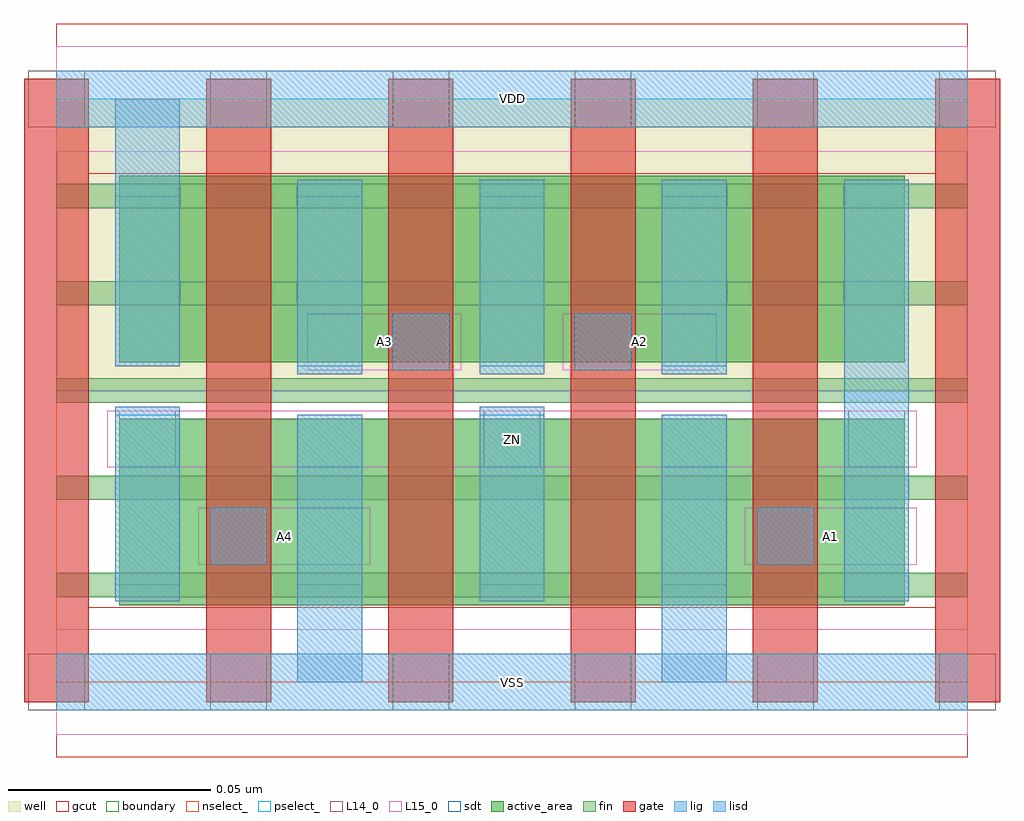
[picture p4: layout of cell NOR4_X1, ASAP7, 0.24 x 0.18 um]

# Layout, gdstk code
import gdstk
lib = gdstk.Library(unit=1e-6, precision=2.5e-10)
def R(c, l, rs):  # rectangles x0, y0, x1, y1
    for r in rs: c.add(gdstk.rectangle(r[:2], r[2:], *l))
def A(c, l, x, y, w, h, nx, ny, dx, dy):  # array of equal rectangles
    R(c, l, [(x+i*dx, y+j*dy, x+i*dx+w, y+j*dy+h) for i in range(nx) for j in range(ny)])
well = (1, 0)
fin = (2, 0)
gate = (7, 0)
gcut = (10, 0)
active_area = (11, 0)
nselect_ = (12, 0)
pselect_ = (13, 0)
L14_0 = (14, 0)
L15_0 = (15, 0)
lig = (16, 0)
lisd = (17, 0)
sdt = (88, 0)
boundary = (100, 0)

nor4_x1 = lib.new_cell('NOR4_X1')
R(nor4_x1, well, [(0,0.072,0.225,0.144)])
A(nor4_x1, fin, 0, 0.021, 0.225, 0.006, 1, 5, 0, 0.024)
A(nor4_x1, gate, -0.008, -0.005, 0.016, 0.154, 6, 1, 0.045, 0)
R(nor4_x1, gcut, [(0,-0.0185,0.225,0.0185), (-0.008,-0.005,0.008,0.149), (0.217,-0.005,0.233,0.149), (0,0.1255,0.225,0.1625)])
A(nor4_x1, active_area, 0.0155, 0.019, 0.059, 0.046, 4, 2, 0.045, 0.06)
R(nor4_x1, nselect_, [(0,0,0.225,0.072)])
R(nor4_x1, pselect_, [(0,0.072,0.225,0.144)])
A(nor4_x1, L14_0, -0.007, -0.007, 0.014, 0.014, 6, 2, 0.045, 0.144)
A(nor4_x1, L14_0, 0.0155, 0.053, 0.014, 0.014, 3, 1, 0.09, 0)
R(nor4_x1, L14_0, [(0.038,0.029,0.052,0.043), (0.173,0.029,0.187,0.043), (0.083,0.077,0.097,0.091), (0.128,0.077,0.142,0.091)])
R(nor4_x1, L15_0, [(0,-0.013,0.225,0.013), (0.035,0.029,0.0775,0.043), (0.17,0.029,0.2125,0.043), (0.0125,0.053,0.2125,0.067), (0.062,0.077,0.1,0.091), (0.125,0.077,0.163,0.091), (0,0.131,0.225,0.157)])
R(nor4_x1, lig, [(0,-0.007,0.225,0.007), (0.038,0.029,0.052,0.043), (0.173,0.029,0.187,0.043), (0.083,0.077,0.097,0.091), (0.128,0.077,0.142,0.091), (0,0.137,0.225,0.151)])
R(nor4_x1, lisd, [(0.0595,0,0.0755,0.066), (0.0595,0,0.0755,0.066), (0.1495,0,0.1655,0.066), (0.1495,0,0.1655,0.066), (0.0145,0.02,0.0305,0.068), (0.1045,0.02,0.1205,0.068), (0.1045,0.02,0.1205,0.068), (0.1945,0.02,0.2105,0.124), (0.0595,0.076,0.0755,0.124), (0.0595,0.076,0.0755,0.124), (0.1045,0.076,0.1205,0.124), (0.1045,0.076,0.1205,0.124), (0.1495,0.076,0.1655,0.124), (0.1495,0.076,0.1655,0.124), (0.0145,0.078,0.0305,0.144)])
R(nor4_x1, sdt, [(0.1945,0.02,0.2105,0.124), (0.0145,0.024,0.0305,0.066), (0.0595,0.024,0.0755,0.066), (0.0595,0.024,0.0755,0.066), (0.1045,0.024,0.1205,0.066), (0.1045,0.024,0.1205,0.066), (0.1495,0.024,0.1655,0.066), (0.1495,0.024,0.1655,0.066), (0.0145,0.078,0.0305,0.12), (0.0595,0.078,0.0755,0.12), (0.0595,0.078,0.0755,0.12), (0.1045,0.078,0.1205,0.12), (0.1045,0.078,0.1205,0.12), (0.1495,0.078,0.1655,0.12), (0.1495,0.078,0.1655,0.12)])
R(nor4_x1, boundary, [(0,0,0.225,0.144)])
nor4_x1.add(gdstk.Label('VDD', (0.1125,0.144), layer=1, texttype=251))
nor4_x1.add(gdstk.Label('VSS', (0.1125,0), layer=3, texttype=251))
nor4_x1.add(gdstk.Label('A4', (0.0563,0.036), layer=15, texttype=251))
nor4_x1.add(gdstk.Label('A3', (0.081,0.084), layer=15, texttype=251))
nor4_x1.add(gdstk.Label('ZN', (0.1125,0.06), layer=15, texttype=251))
nor4_x1.add(gdstk.Label('A2', (0.144,0.084), layer=15, texttype=251))
nor4_x1.add(gdstk.Label('A1', (0.1913,0.036), layer=15, texttype=251))
nor4_x1.add(gdstk.Label('VSS', (0.1125,0), layer=15, texttype=251))
nor4_x1.add(gdstk.Label('VDD', (0.1125,0.144), layer=15, texttype=251))

lib.write_gds('NOR4_X1.gds')
